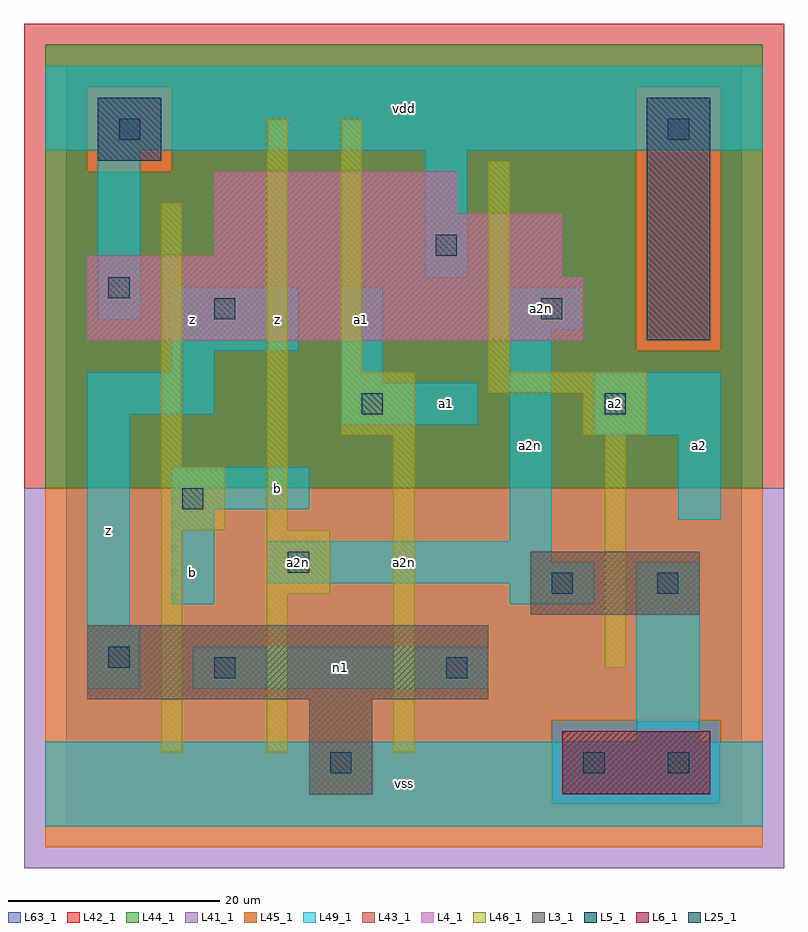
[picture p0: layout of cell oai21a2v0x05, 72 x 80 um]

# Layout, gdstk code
import gdstk
lib = gdstk.Library(unit=1e-6, precision=1e-09)
def R(c, l, rs):  # rectangles x0, y0, x1, y1
    for r in rs: c.add(gdstk.rectangle(r[:2], r[2:], *l))
L3_1 = (3, 1)
L4_1 = (4, 1)
L5_1 = (5, 1)
L6_1 = (6, 1)
L25_1 = (25, 1)
L41_1 = (41, 1)
L42_1 = (42, 1)
L43_1 = (43, 1)
L44_1 = (44, 1)
L45_1 = (45, 1)
L46_1 = (46, 1)
L49_1 = (49, 1)
L63_1 = (63, 1)

oai21a2v0x05 = lib.new_cell('oai21a2v0x05')
R(oai21a2v0x05, L3_1, [(23,3,29,12), (2,12,40,19), (44,20,60,26)])
R(oai21a2v0x05, L4_1, [(2,46,49,52), (2,52,47,54), (14,54,47,58), (14,58,37,62)])
R(oai21a2v0x05, L5_1, [(55,46,61,69), (3,63,9,69)])
R(oai21a2v0x05, L6_1, [(47,3,61,9), (47,3,61,9)])
R(oai21a2v0x05, L25_1, [(25,5,27,7), (49,5,51,7), (57,5,59,7), (14,14,16,16), (36,14,38,16), (4,15,6,17), (46,22,48,24), (56,22,58,24), (21,24,23,26), (11,30,13,32), (28,39,30,41), (51,39,53,41), (14,48,16,50), (45,48,47,50), (4,50,6,52), (35,54,37,56), (5,65,7,67), (57,65,59,67)])
R(oai21a2v0x05, L41_1, [(-4,-4,68,32)])
R(oai21a2v0x05, L42_1, [(-4,32,68,76)])
R(oai21a2v0x05, L43_1, [(23,3,29,12), (47,3,61,9), (2,12,40,19), (44,20,60,26), (2,46,49,52), (55,46,61,69), (2,52,47,54), (14,54,47,58), (14,58,37,62), (3,63,9,69)])
R(oai21a2v0x05, L44_1, [(46,2,62,10), (-2,32,66,45), (-2,45,54,62), (62,45,66,70), (-2,62,2,70), (10,62,54,70), (-2,70,66,74)])
R(oai21a2v0x05, L45_1, [(-2,-2,66,2), (-2,2,46,10), (62,2,66,10), (-2,10,66,32), (54,45,62,70), (2,62,10,70)])
R(oai21a2v0x05, L46_1, [(9,7,11,28), (19,7,21,22), (31,7,33,37), (51,15,53,37), (19,22,25,28), (9,28,15,34), (19,28,21,67), (9,34,11,59), (26,37,33,43), (49,37,55,41), (40,41,55,43), (26,43,28,67), (40,43,42,63)])
R(oai21a2v0x05, L49_1, [(-2,0,66,8), (54,8,60,25), (2,13,7,19), (12,13,40,17), (2,19,6,39), (10,21,14,30), (42,21,50,23), (19,23,50,25), (19,25,46,27), (42,27,46,47), (58,29,62,37), (10,30,23,34), (50,37,62,43), (26,38,39,42), (2,39,14,43), (26,42,30,51), (10,43,14,45), (10,45,22,51), (42,47,49,51), (3,48,7,64), (34,52,38,64), (-2,64,66,72)])
R(oai21a2v0x05, L63_1, [(0,0,64,72)])
oai21a2v0x05.add(gdstk.Label('a2n', (22,25), layer=49, texttype=1))
oai21a2v0x05.add(gdstk.Label('z', (4,28), layer=49, texttype=1))
oai21a2v0x05.add(gdstk.Label('b', (12,24), layer=49, texttype=1))
oai21a2v0x05.add(gdstk.Label('z', (12,48), layer=49, texttype=1))
oai21a2v0x05.add(gdstk.Label('b', (20,32), layer=49, texttype=1))
oai21a2v0x05.add(gdstk.Label('a1', (28,48), layer=49, texttype=1))
oai21a2v0x05.add(gdstk.Label('z', (20,48), layer=49, texttype=1))
oai21a2v0x05.add(gdstk.Label('vss', (32,4), layer=49, texttype=1))
oai21a2v0x05.add(gdstk.Label('n1', (26,15), layer=49, texttype=1))
oai21a2v0x05.add(gdstk.Label('a2n', (32,25), layer=49, texttype=1))
oai21a2v0x05.add(gdstk.Label('a2n', (44,36), layer=49, texttype=1))
oai21a2v0x05.add(gdstk.Label('a1', (36,40), layer=49, texttype=1))
oai21a2v0x05.add(gdstk.Label('a2n', (45,49), layer=49, texttype=1))
oai21a2v0x05.add(gdstk.Label('vdd', (32,68), layer=49, texttype=1))
oai21a2v0x05.add(gdstk.Label('a2', (60,36), layer=49, texttype=1))
oai21a2v0x05.add(gdstk.Label('a2', (52,40), layer=49, texttype=1))

lib.write_gds('oai21a2v0x05.gds')
